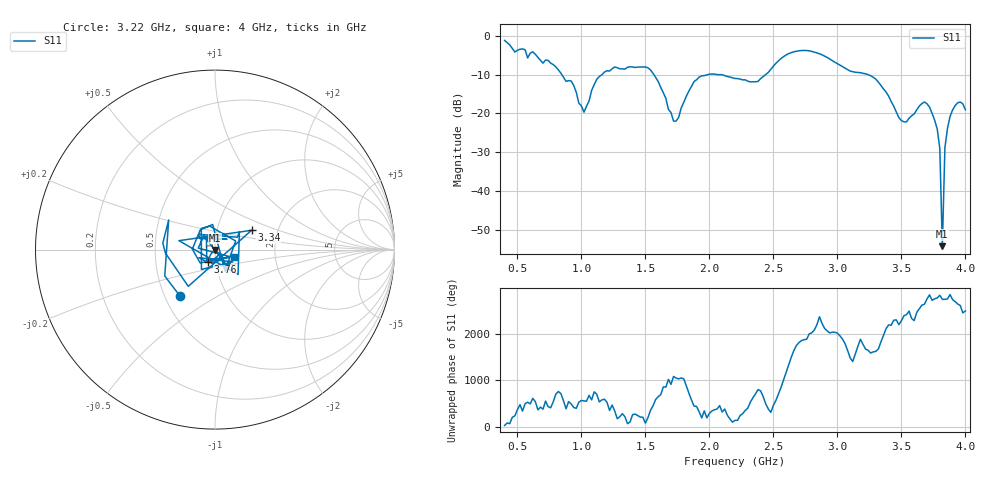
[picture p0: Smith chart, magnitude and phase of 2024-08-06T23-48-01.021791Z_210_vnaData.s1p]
!Created with skrf (http://scikit-rf.org).
# Hz S RI R 50.0
!freq ReS11 ImS11
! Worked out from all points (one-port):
!   181 points, 400 MHz to 4 GHz, reference 50 ohm
!   lowest |S11| = -54.2 dB at 3.82 GHz (marker M1), VSWR 1.00, Z = 49.9 - j0.145 ohm
!   |S11| at or under -10 dB: 1.566 GHz to 1.987 GHz (420.9 MHz wide, 23.7 % of centre); 2.081 GHz to 2.44 GHz (358.8 MHz wide, 15.9 % of centre); 3.24 GHz to end of sweep (the widest 3 of 4)
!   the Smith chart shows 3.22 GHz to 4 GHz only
!   S11 on the Smith chart (normalised r, x): 3.22 GHz: 0.60, -0.35; 3.34 GHz: 1.47, +0.33; 3.76 GHz: 0.91, -0.13; 4 GHz: 1.23, -0.10
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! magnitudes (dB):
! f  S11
! 400 MHz  -1.2
! 740 MHz  -6.3
! 860 MHz  -10.7
! 920 MHz  -11.6
! 1.02 GHz  -19.7
! 1.12 GHz  -11.2
! 1.3 GHz  -8.5
! 1.52 GHz  -8.2
! 1.6 GHz  -11.8
! 1.72 GHz  -22.0
! 1.76 GHz  -21.0
! 1.92 GHz  -10.6
! 2.2 GHz  -11.0
! 2.38 GHz  -11.7
! 2.66 GHz  -4.1
! 3.1 GHz  -9.1
! 3.22 GHz  -9.8
! 3.34 GHz  -12.8
! 3.48 GHz  -21.1
! 3.56 GHz  -21.2
! 3.68 GHz  -17.0
! 3.76 GHz  -21.7
! 3.8 GHz  -29.0
! 3.82 GHz  -54.2
! 3.84 GHz  -28.8
! 3.86 GHz  -23.8
! 3.94 GHz  -17.3
! 4 GHz  -19.0
